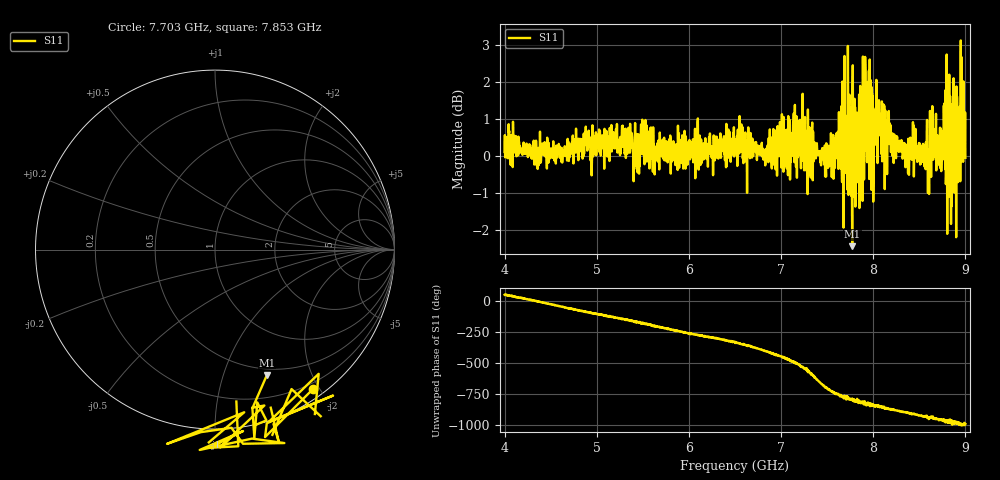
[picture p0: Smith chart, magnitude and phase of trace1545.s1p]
! Created with skrf 1.8.0 (http://scikit-rf.org).
# Hz S RI R 50.0
!freq ReS11 ImS11
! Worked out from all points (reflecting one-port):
!   1601 points, 4 GHz to 9 GHz, reference 50 ohm
!   lowest |S11| = -2.4 dB at 7.772 GHz (marker M1), VSWR 7.19, Z = 21.6 - j70.4 ohm
!   phase of S11 starts at 49 deg and turns -1042 deg over the sweep
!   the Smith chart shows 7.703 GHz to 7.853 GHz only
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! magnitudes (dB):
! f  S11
! 4 GHz  0.1
! 4.625 GHz  -0.2
! 4.894 GHz  0.4
! 5.25 GHz  0.1
! 5.875 GHz  0.2
! 6.5 GHz  0.4
! 6.825 GHz  0.1
! 7.078 GHz  1.1
! 7.125 GHz  0.6
! 7.488 GHz  -0.6
! 7.65 GHz  0.9
! 7.75 GHz  -0.6
! 7.772 GHz  -2.4
! 7.928 GHz  1.2
! 7.981 GHz  -0.9
! 8.009 GHz  1.2
! 8.097 GHz  -0.1
! 8.375 GHz  0.0
! 8.438 GHz  0.8
! 8.581 GHz  0.6
! 8.656 GHz  0.7
! 8.738 GHz  -0.4
! 8.788 GHz  -0.8
! 8.875 GHz  1.0
! 8.884 GHz  1.4
! 8.941 GHz  1.4
! 8.959 GHz  2.7
! 9 GHz  0.0
